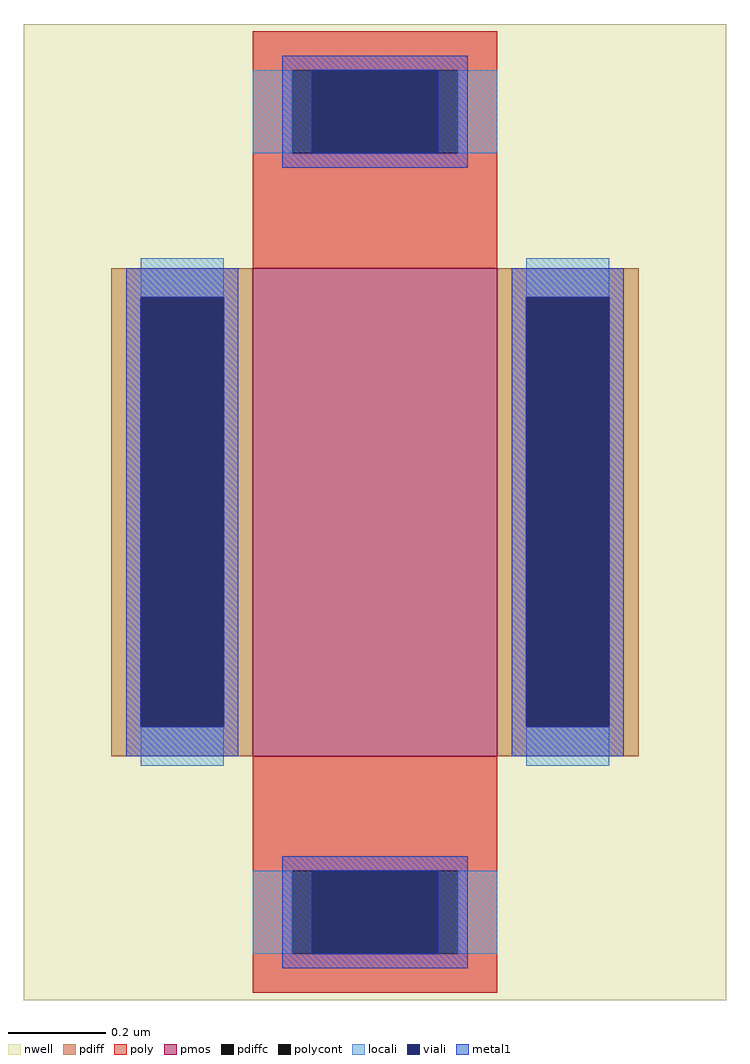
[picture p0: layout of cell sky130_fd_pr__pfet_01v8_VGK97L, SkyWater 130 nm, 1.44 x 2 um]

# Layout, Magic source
magic
tech sky130A
magscale 1 2
<< nwell >>
rect -144 -200 144 200
<< pmos >>
rect -50 -100 50 100
<< pdiff >>
rect -108 88 -50 100
rect -108 -88 -96 88
rect -62 -88 -50 88
rect -108 -100 -50 -88
rect 50 88 108 100
rect 50 -88 62 88
rect 96 -88 108 88
rect 50 -100 108 -88
<< pdiffc >>
rect -96 -88 -62 88
rect 62 -88 96 88
<< poly >>
rect -50 181 50 197
rect -50 147 -34 181
rect 34 147 50 181
rect -50 100 50 147
rect -50 -147 50 -100
rect -50 -181 -34 -147
rect 34 -181 50 -147
rect -50 -197 50 -181
<< polycont >>
rect -34 147 34 181
rect -34 -181 34 -147
<< locali >>
rect -50 147 -34 181
rect 34 147 50 181
rect -96 88 -62 104
rect -96 -104 -62 -88
rect 62 88 96 104
rect 62 -104 96 -88
rect -50 -181 -34 -147
rect 34 -181 50 -147
<< viali >>
rect -26 147 26 181
rect -96 -88 -62 88
rect 62 -88 96 88
rect -26 -181 26 -147
<< metal1 >>
rect -38 181 38 187
rect -38 147 -26 181
rect 26 147 38 181
rect -38 141 38 147
rect -102 88 -56 100
rect -102 -88 -96 88
rect -62 -88 -56 88
rect -102 -100 -56 -88
rect 56 88 102 100
rect 56 -88 62 88
rect 96 -88 102 88
rect 56 -100 102 -88
rect -38 -147 38 -141
rect -38 -181 -26 -147
rect 26 -181 38 -147
rect -38 -187 38 -181
<< properties >>
string gencell sky130_fd_pr__pfet_01v8
string library sky130
string parameters w 1 l 0.5 m 1 nf 1 diffcov 100 polycov 100 guard 0 glc 1 grc 1 gtc 1 gbc 1 tbcov 100 rlcov 100 topc 1 botc 1 poverlap 0 doverlap 1 lmin 0.15 wmin 0.42 compatible {sky130_fd_pr__pfet_01v8  sky130_fd_pr__pfet_01v8_lvt sky130_fd_pr__pfet_01v8_hvt  sky130_fd_pr__pfet_g5v0d10v5} full_metal 1 viasrc 100 viadrn 100 viagate 75 viagb 0 viagr 0 viagl 0 viagt 0
<< end >>
